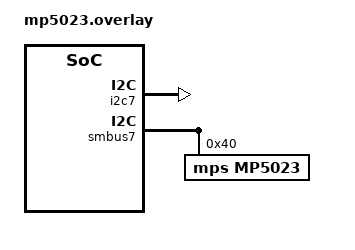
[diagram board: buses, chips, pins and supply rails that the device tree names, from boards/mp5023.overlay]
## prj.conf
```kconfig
# 启用MP5023驱动
CONFIG_MP5023=y
CONFIG_MP5023_TIMEOUT_MS=100

# 启用I2C
CONFIG_I2C=y
CONFIG_SMBUS=y
CONFIG_PECI=n
CONFIG_PIPES=y

# 启用传感器子系统
CONFIG_SENSOR=y

# 日志系统配置
CONFIG_LOG=y
CONFIG_LOG_MODE_IMMEDIATE=y
CONFIG_LOG_DEFAULT_LEVEL=4
```

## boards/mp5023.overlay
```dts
/*
 * Copyright (c) 2018 Jan Van Winkel <jan.van_winkel@dxplore.eu>
 *
 * SPDX-License-Identifier: Apache-2.0
 */

&i2c7 {
    status = "okay";
    //clock-frequency = <100000>;
    bus-frequency = <100000>;
};

&smbus7 {
    status = "okay";
    
    mp5023: mp5023@40 {
        compatible = "mps,mp5023";
        reg = <0x40>;
        status = "okay";
        smbus-max-frequency = <100000>;
    };
};
```

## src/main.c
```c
/*
 * Copyright (c) 2018 Jan Van Winkel <jan.van_winkel@dxplore.eu>
 *
 * SPDX-License-Identifier: Apache-2.0
 */

#include <zephyr/device.h>
#include <zephyr/devicetree.h>
#include <zephyr/drivers/sensor.h>
#include <zephyr/kernel.h>
#include <zephyr/logging/log.h>

LOG_MODULE_REGISTER(mp5023_app, LOG_LEVEL_INF);

// 定义驱动兼容性字符串
#define DT_DRV_COMPAT mps_mp5023

// 定义设备标签名称
#define MP5023_DEV_NODE DT_NODELABEL(mp5023)

void main(void) {
  const struct device *dev = DEVICE_DT_GET(MP5023_DEV_NODE);
  struct sensor_value voltage, current, temp, power;
  uint8_t retry = 0;
  // float power;

  int ret;
  if (NULL == dev) {
    LOG_ERR("Failed to get MP5023 device binding");
    return;
  }

  if (!device_is_ready(dev)) {
    LOG_ERR("Device %s is not ready", dev->name);
    return;
  }

  LOG_INF("MP5023 sensor measurement example started");

  while (retry < 3) {
    /* Fetch all sensor data - 5023 specific sensor driver */
    ret = sensor_sample_fetch(dev); /* general sensor api */
    if (ret < 0) {
      LOG_ERR("Failed to fetch samples: %d", ret);
      continue;
    }

    /* Get voltage, power and temperature data */
    ret = sensor_channel_get(dev, SENSOR_CHAN_VOLTAGE, &voltage);
    if (ret < 0) {
      LOG_ERR("Failed to get voltage: %d", ret);
    }

    ret = sensor_channel_get(dev, SENSOR_CHAN_POWER, &power);
    if (ret < 0) {
      LOG_ERR("Failed to get power: %d", ret);
    }

    ret = sensor_channel_get(dev, SENSOR_CHAN_GAUGE_TEMP, &temp);
    if (ret < 0) {
      LOG_ERR("Failed to get temperature: %d", ret);
    }

    // power = (voltage.val1 + voltage.val2 / 1000000.0f) *
    //         (current.val1 + current.val2 / 1000000.0f);

    LOG_INF("Voltage mV: %d", voltage.val1);
    LOG_INF("Power vW: %d ", power.val1);
    LOG_INF("Temperature m°C: %d", temp.val1);

    k_sleep(K_SECONDS(1));
    retry++;
  }
}
```
